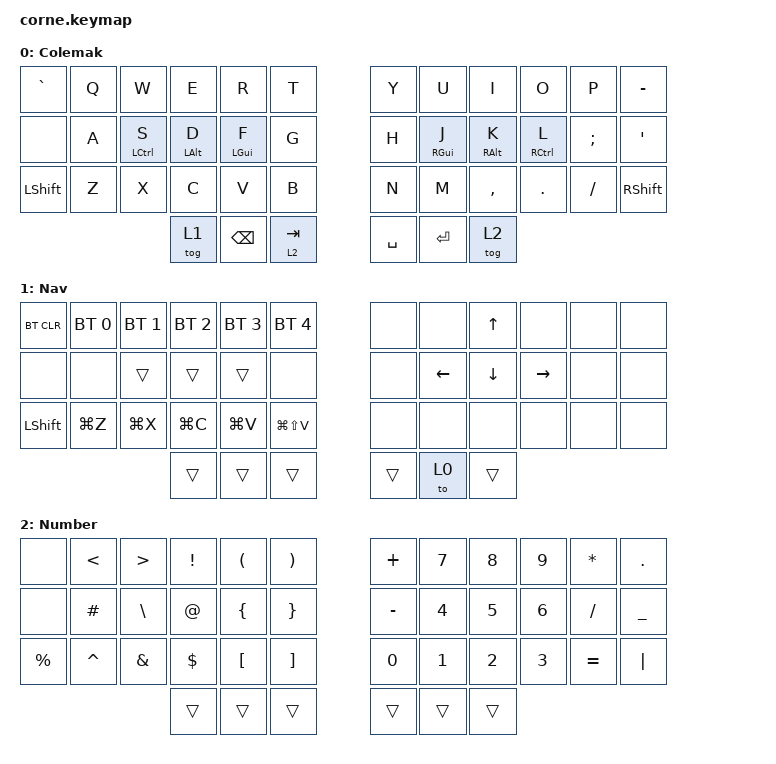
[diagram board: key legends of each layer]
/*
 * Copyright (c) 2020 The ZMK Contributors
 *
 * SPDX-License-Identifier: MIT
 */

#include <behaviors.dtsi>
#include <dt-bindings/zmk/keys.h>
#include <dt-bindings/zmk/bt.h>
#include "zmk-helpers/helper.h"
#include "zmk-helpers/key-labels/36.h"

#define KEYS_L LT0 LT1 LT2 LT3 LT4 LM0 LM1 LM2 LM3 LM4 LB0 LB1 LB2 LB3 LB4  // Left-hand keys.
#define KEYS_R RT0 RT1 RT2 RT3 RT4 RM0 RM1 RM2 RM3 RM4 RB0 RB1 RB2 RB3 RB4  // Right-hand keys.
#define THUMBS LH2 LH1 LH0 RH0 RH1 RH2                                      // Thumb keys.

/* Left-hand HRMs. */
ZMK_HOLD_TAP(hml,
    flavor = "balanced";
    tapping-term-ms = <280>;
    quick-tap-ms = <175>;
    require-prior-idle-ms = <400>;
    bindings = <&kp>, <&kp>;
    hold-trigger-key-positions = <KEYS_R THUMBS>;
    hold-trigger-on-release;
)

/* Right-hand HRMs. */
ZMK_HOLD_TAP(hmr,
    flavor = "balanced";
    tapping-term-ms = <280>;
    quick-tap-ms = <175>;
    require-prior-idle-ms = <400>;
    bindings = <&kp>, <&kp>;
    hold-trigger-key-positions = <KEYS_L THUMBS>;
    hold-trigger-on-release;
)

ZMK_HOLD_TAP(lt_num,
    bindings = <&mo>, <&kp>;
    flavor = "balanced";
    tapping-term-ms = <200>;
    quick-tap-ms = <175>;
    hold-trigger-key-positions = <KEYS_L THUMBS>;
    hold-trigger-on-release;
)

/ {
        keymap {
                compatible = "zmk,keymap";

                default_layer {
                        display-name = "Colemak";
                        bindings = <
//╭─────────────┬─────────────┬─────────────┬─────────────┬─────────────┬─────────────╮ ╭─────────────┬─────────────┬─────────────┬─────────────┬─────────────────┬─────────────╮
    &kp GRAVE     &kp Q         &kp W         &kp E         &kp R         &kp T           &kp Y         &kp U         &kp I         &kp O         &kp P             &kp MINUS
//├─────────────┼─────────────┼─────────────┼─────────────┼─────────────┼─────────────┤ ├─────────────┼─────────────┼─────────────┼─────────────┼─────────────────┼─────────────┤
    &none         &kp A         &hml LCTRL S  &hml LALT D   &hml LGUI F   &kp G           &kp H         &hmr RGUI J   &hmr RALT K   &hmr RCTRL L  &kp SEMI          &kp SQT 
//├─────────────┼─────────────┼─────────────┼─────────────┼─────────────┼─────────────┤ ├─────────────┼─────────────┼─────────────┼─────────────┼─────────────────┼─────────────┤
    &kp LSHFT     &kp Z         &kp X         &kp C         &kp V         &kp B           &kp N         &kp M         &kp COMMA     &kp DOT       &kp FSLH          &kp RSHFT
//╰─────────────┴─────────────┴─────────────┼─────────────┼─────────────┼─────────────┤ ├─────────────┼─────────────┼─────────────┼─────────────┴─────────────────┴─────────────╯ 
                                              &tog 1        &kp BSPC      &lt_num 2 TAB         &kp SPACE     &kp RET       &tog 2 
//                                          ╰─────────────┴─────────────┴─────────────╯ ╰─────────────┴─────────────┴─────────────╯
                        >;
                };
                lower_layer {
                        display-name = "Nav";
                        bindings = <
//╭─────────────┬─────────────┬─────────────┬─────────────┬─────────────┬─────────────────╮ ╭─────────────┬─────────────┬─────────────┬─────────────┬─────────────┬─────────────╮
    &bt BT_CLR    &bt BT_SEL 0  &bt BT_SEL 1  &bt BT_SEL 2  &bt BT_SEL 3  &bt BT_SEL 4         &none         &none         &kp UP        &none         &none         &none
//├─────────────┼─────────────┼─────────────┼─────────────┼─────────────┼─────────────────┤ ├─────────────┼─────────────┼─────────────┼─────────────┼─────────────┼─────────────┤
    &none         &none         &trans        &trans        &trans        &none                &none         &kp LEFT      &kp DOWN      &kp RIGHT     &none         &none
//├─────────────┼─────────────┼─────────────┼─────────────┼─────────────┼─────────────────┤ ├─────────────┼─────────────┼─────────────┼─────────────┼─────────────┼─────────────┤
    &kp LSHFT     &kp LG(Z)     &kp LG(X)     &kp LG(C)     &kp LG(V)     &kp LG(LS(V))        &none         &none         &none         &none         &none         &none
//╰─────────────┴─────────────┴─────────────┼─────────────┼─────────────┼─────────────────┤ ├─────────────┼─────────────┼─────────────┼─────────────┴─────────────┴─────────────╯ 
                                              &trans        &trans        &trans               &trans        &to 0        &trans
 //                                         ╰─────────────┴─────────────┴─────────────────╯ ╰─────────────┴─────────────┴─────────────╯

                        >;
                };

                raise_layer {
                        display-name = "Number";
                        bindings = <
//╭─────────────┬───────────────┬──────────────────┬─────────────┬────────────┬─────────────╮ ╭─────────────┬─────────────┬─────────────┬─────────────┬─────────────┬─────────────╮
    &none         &kp LESS_THAN   &kp GREATER_THAN   &kp EXCL      &kp LPAR      &kp RPAR       &kp PLUS      &kp N7        &kp N8        &kp N9         &kp ASTERISK  &kp DOT
//├─────────────┼───────────────┼──────────────────┼─────────────┼────────────┼─────────────┤ ├─────────────┼─────────────┼─────────────┼─────────────┼─────────────┼─────────────┤
    &none         &kp HASH        &kp BSLH           &kp AT        &kp LBRC      &kp RBRC       &kp MINUS     &kp N4        &kp N5        &kp N6         &kp FSLH      &kp UNDER
//├─────────────┼───────────────┼──────────────────┼─────────────┼────────────┼─────────────┤ ├─────────────┼─────────────┼─────────────┼─────────────┼─────────────┼─────────────┤
    &kp PRCNT     &kp CARET       &kp AMPS           &kp DLLR      &kp LBKT      &kp RBKT       &kp N0        &kp N1        &kp N2        &kp N3         &kp EQUAL     &kp PIPE
//╰─────────────┴───────────────┴──────────────────┼─────────────┼─────────────┼────────────┤ ├─────────────┼─────────────┼─────────────┼─────────────┴─────────────┴─────────────╯ 
                                                     &trans        &trans        &trans         &trans        &trans        &trans
//                                                 ╰─────────────┴─────────────┴────────────╯ ╰─────────────┴─────────────┴─────────────╯

                        >;
                };

                extra_1 {
                        status = "reserved";
                };

                extra_2 {
                        status = "reserved";
                };

                extra_3 {
                        status = "reserved";
                };
        };
};
